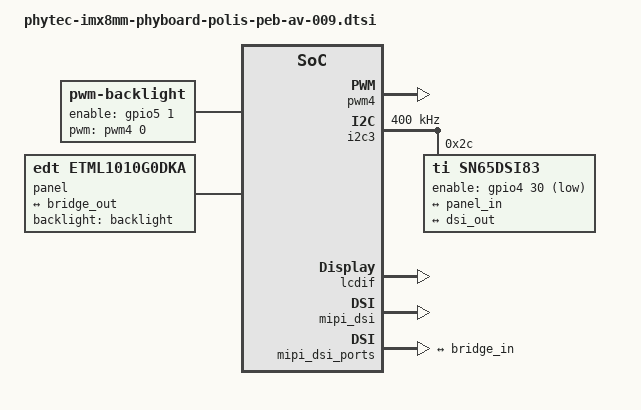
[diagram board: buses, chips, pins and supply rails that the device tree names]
// SPDX-License-Identifier: GPL-2.0
/*
 * Copyright (C) 2019 PHYTEC Messtechnik GmbH
 * Author: Teresa Remmet <t.remmet@phytec.de>
 *
 */

/ {
	backlight: backlight {
		compatible = "pwm-backlight";
		pinctrl-names = "default";
		pinctrl-0 = <&pinctrl_lcd>;
		default-brightness-level = <6>;
		pwms = <&pwm4 0 500000>;
		enable-gpios = <&gpio5 1 GPIO_ACTIVE_HIGH>;
		brightness-levels= <0 4 8 16 32 64 128 255>;
		status = "okay";
	};

	panel: panel {
		compatible = "edt,etml1010g0dka";
		backlight = <&backlight>;
		status = "okay";

		port {
			panel_in: endpoint {
				remote-endpoint = <&bridge_out>;
			};
		};
	};

};

&pwm4 {
	status = "okay";
	pinctrl-names = "default";
	pinctrl-0 = <&pinctrl_pwm4>;
};

&i2c3 {
	clock-frequency = <400000>;
	pinctrl-names = "default";
	pinctrl-0 = <&pinctrl_i2c3>;
	status = "okay";

	sn65dsi83@2c {
		compatible = "ti,sn65dsi83";
		pinctrl-names = "default";
		pinctrl-0 = <&pinctrl_sn65dsi83>;
		enable-gpios = <&gpio4 30 GPIO_ACTIVE_LOW>;
		reg = <0x2c>;
		lanes_in = <4>;
		status = "okay";

		ports {
			#address-cells = <1>;
			#size-cells = <0>;

			port@0 {
				reg = <0>;
				bridge_out: endpoint {
					remote-endpoint = <&panel_in>;
				};
			};

			port@1 {
				reg = <1>;
				bridge_in: endpoint {
					remote-endpoint = <&dsi_out>;
				};
			};
                };
        };
};

&lcdif {
	status = "okay";
	max-res = <1920>, <1080>;
};

&mipi_dsi {
	status = "okay";
	as_bridge;
	sync-pol = <1>;
	pwr-delay = <10>;
};

&mipi_dsi_ports {
	port@1 {
		reg = <1>;
		dsi_out: endpoint {
			remote-endpoint = <&bridge_in>;
		};
	};
};

&iomuxc {
	peb-av-009 {
		pinctrl_pwm4: pwm4grp {
			fsl,pins = <
				MX8MM_IOMUXC_SAI3_MCLK_PWM4_OUT		0x12
			>;
		};

		pinctrl_lcd: lcd0grp {
			fsl,pins = <
				MX8MM_IOMUXC_SAI3_TXD_GPIO5_IO1		0x12
			>;
		};

		pinctrl_i2c3: i2c3grp {
			fsl,pins = <
				MX8MM_IOMUXC_I2C3_SCL_I2C3_SCL		0x400001c3
				MX8MM_IOMUXC_I2C3_SDA_I2C3_SDA		0x400001c3
			>;
		};

		pinctrl_sn65dsi83: sn65dsi83grp {
                        fsl,pins = <
                                MX8MM_IOMUXC_SAI3_RXD_GPIO4_IO30	0x0
			>;
		};
	};
};
